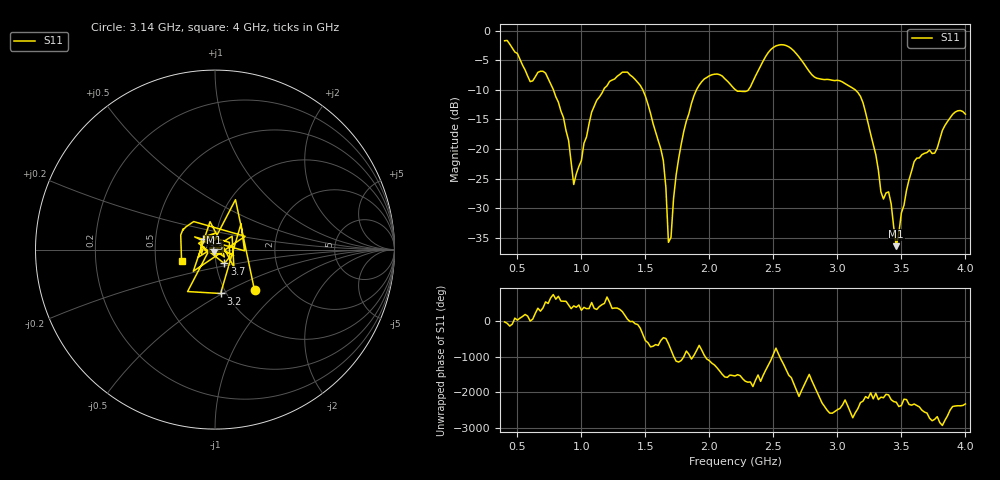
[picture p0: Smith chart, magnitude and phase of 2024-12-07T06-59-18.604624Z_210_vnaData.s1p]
!Created with skrf (http://scikit-rf.org).
# Hz S RI R 50.0
!freq ReS11 ImS11
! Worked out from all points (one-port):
!   181 points, 400 MHz to 4 GHz, reference 50 ohm
!   lowest |S11| = -36.5 dB at 3.46 GHz (marker M1), VSWR 1.03, Z = 49.4 - j1.38 ohm
!   |S11| at or under -10 dB: 781.4 MHz to 1.173 GHz (391.7 MHz wide, 40.1 % of centre); 1.48 GHz to 1.899 GHz (419 MHz wide, 24.8 % of centre); 3.14 GHz to end of sweep (the widest 3 of 4)
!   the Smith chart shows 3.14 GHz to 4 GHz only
!   S11 on the Smith chart (normalised r, x): 3.14 GHz: 1.36, -0.69; 3.2 GHz: 0.94, -0.49; 3.3 GHz: 0.87, +0.10; 3.7 GHz: 1.10, -0.17; 4 GHz: 0.68, -0.09
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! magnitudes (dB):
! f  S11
! 400 MHz  -1.7
! 600 MHz  -8.6
! 720 MHz  -7.2
! 860 MHz  -14.7
! 940 MHz  -26.0
! 1.08 GHz  -13.8
! 1.3 GHz  -7.4
! 1.52 GHz  -12.4
! 1.64 GHz  -22.0
! 1.66 GHz  -26.5
! 1.68 GHz  -35.8
! 1.7 GHz  -35.0
! 1.76 GHz  -21.6
! 1.94 GHz  -8.6
! 2.2 GHz  -9.9
! 2.3 GHz  -10.1
! 2.5 GHz  -2.8
! 2.66 GHz  -3.4
! 3.1 GHz  -9.4
! 3.14 GHz  -10.0
! 3.2 GHz  -12.2
! 3.3 GHz  -21.0
! 3.34 GHz  -27.3
! 3.4 GHz  -27.3
! 3.46 GHz  -36.5
! 3.56 GHz  -25.2
! 3.7 GHz  -20.6
! 4 GHz  -14.1
